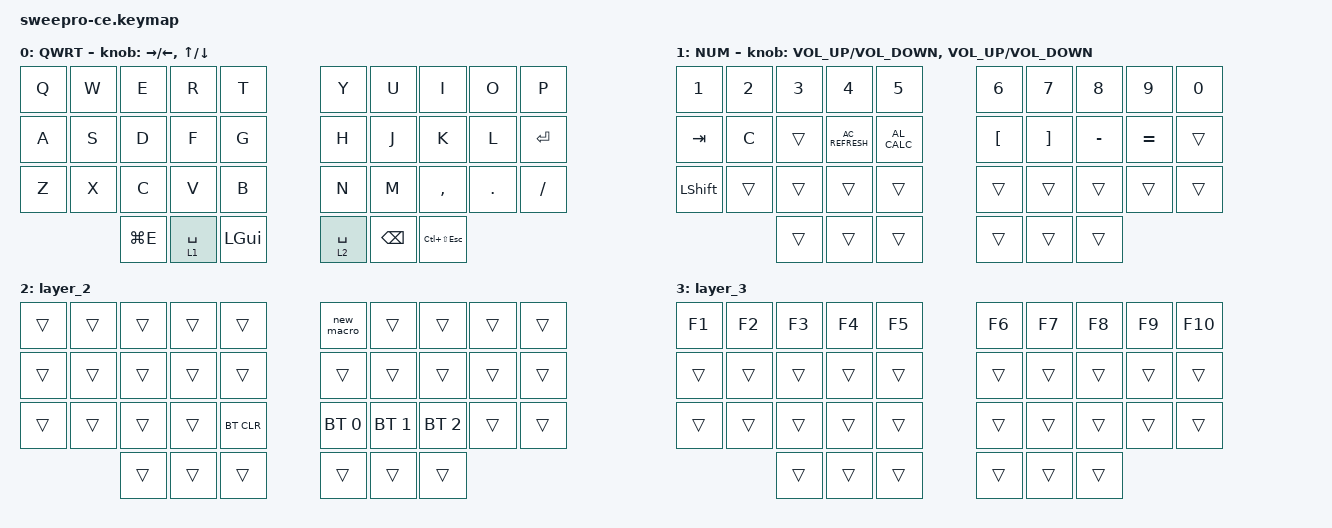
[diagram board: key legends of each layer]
/*
 * Copyright (c) 2020 The ZMK Contributors
 *
 * SPDX-License-Identifier: MIT
 */
/*
 * Copyright (c) 2020 The ZMK Contributors
 *
 * SPDX-License-Identifier: MIT
 */

#define DEFAULT 0
#define COLEMAK 1
#define NUM     2
#define SYM     3
#define FUN     4

#include <behaviors.dtsi>
#include <dt-bindings/zmk/bt.h>
#include <dt-bindings/zmk/keys.h>

/ {
    combos {
        compatible = "zmk,combos";

        Esc {
            bindings = <&kp ESC>;
            key-positions = <0 1>;
            timeout-ms = <120>;
            layers = <0>;
        };

        lctrl {
            bindings = <&kp LCTRL>;
            key-positions = <11 12>;
            layers = <0>;
            timeout-ms = <120>;
        };

        lalt {
            bindings = <&kp LEFT_ALT>;
            key-positions = <12 13>;
            timeout-ms = <120>;
            layers = <0>;
        };

        shift {
            bindings = <&kp LEFT_SHIFT>;
            key-positions = <20 21>;
            timeout-ms = <120>;
        };

        Cap {
            bindings = <&kp CAPSLOCK>;
            key-positions = <10 11>;
            timeout-ms = <120>;
        };

        Rshift {
            bindings = <&kp RSHFT>;
            key-positions = <29 28>;
            timeout-ms = <120>;
        };
    };

    macros {
        new_macro: new_macro {
            compatible = "zmk,behavior-macro";
            #binding-cells = <0>;
            bindings = <&kp NUMBER_1 &kp NUMBER_5 &kp N0 &kp NUMBER_5 &kp NUMBER_0 &kp NUMBER_7>;
            label = "NEW_MACRO";
            tap-ms = <0>;
        };
    };

    keymap {
        compatible = "zmk,keymap";

        default_layer {
            label = "QWRT";
            bindings = <
  &kp Q      &kp W        &kp E         &kp R        &kp T          &kp Y            &kp U  &kp I      &kp O    &kp P
  &kp A      &kp S        &kp D         &kp F        &kp G          &kp H            &kp J  &kp K      &kp L    &kp ENTER
  &kp Z      &kp X        &kp C         &kp V        &kp B          &kp N            &kp M  &kp COMMA  &kp DOT  &kp FSLH
  &kp LG(E)  &lt 1 SPACE  &kp LEFT_GUI  &lt 2 SPACE  &kp BACKSPACE  &kp LC(LS(ESC))
            >;

            sensor-bindings = <&inc_dec_kp RIGHT LEFT &inc_dec_kp UP DOWN>;
        };

        NUM {
            bindings = <
  &kp N1     &kp N2  &kp N3  &kp N4            &kp N5         &kp N6            &kp N7             &kp N8     &kp N9     &kp N0
  &kp TAB    &kp C   &trans  &kp C_AC_REFRESH  &kp C_AL_CALC  &kp LEFT_BRACKET  &kp RIGHT_BRACKET  &kp MINUS  &kp EQUAL  &trans
  &kp LSHFT  &trans  &trans  &trans            &trans         &trans            &trans             &trans     &trans     &trans
  &trans     &trans  &trans  &trans            &trans         &trans
            >;

            sensor-bindings =
                <&inc_dec_kp C_VOL_UP C_VOLUME_DOWN>,
                <&inc_dec_kp C_VOLUME_UP C_VOLUME_DOWN>;
        };

        layer_2 {
            bindings = <
  &trans  &trans  &trans  &trans  &trans      &new_macro    &trans        &trans        &trans  &trans
  &trans  &trans  &trans  &trans  &trans      &trans        &trans        &trans        &trans  &trans
  &trans  &trans  &trans  &trans  &bt BT_CLR  &bt BT_SEL 0  &bt BT_SEL 1  &bt BT_SEL 2  &trans  &trans
  &trans  &trans  &trans  &trans  &trans      &trans
            >;
        };

        layer_3 {
            bindings = <
  &kp F1  &kp F2  &kp F3  &kp F4  &kp F5  &kp F6  &kp F7  &kp F8  &kp F9  &kp F10
  &trans  &trans  &trans  &trans  &trans  &trans  &trans  &trans  &trans  &trans
  &trans  &trans  &trans  &trans  &trans  &trans  &trans  &trans  &trans  &trans
  &trans  &trans  &trans  &trans  &trans  &trans
            >;
        };
    };
};
